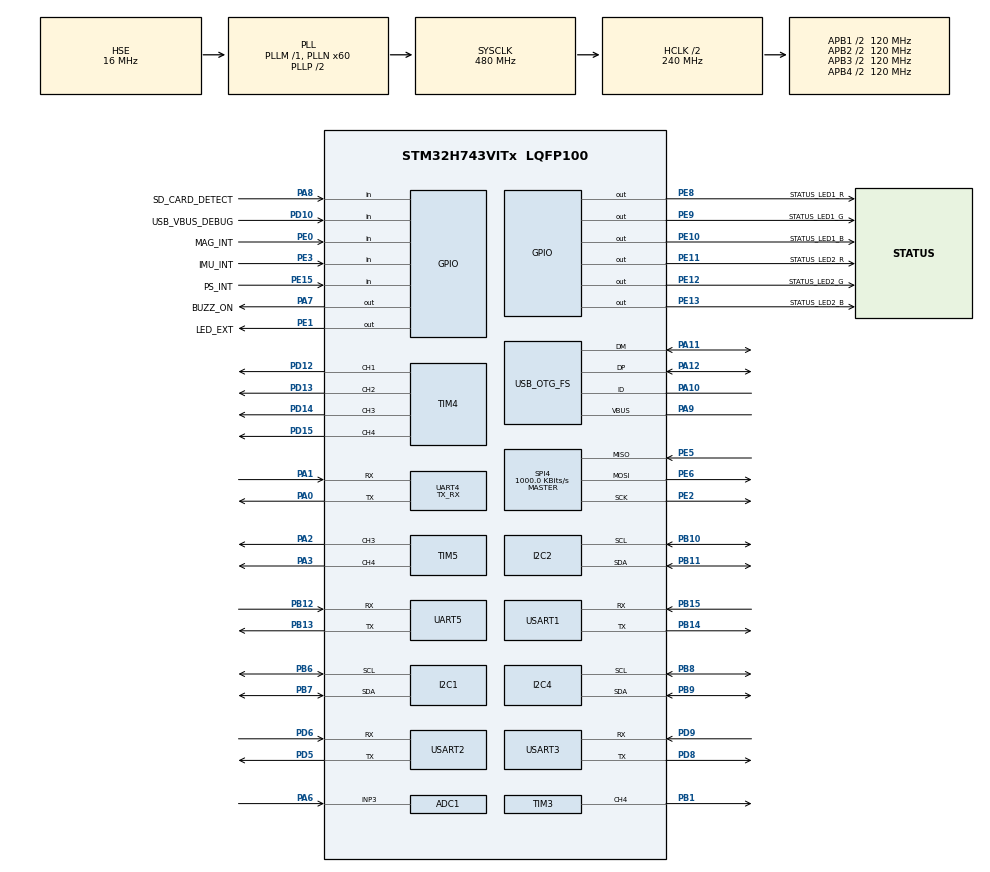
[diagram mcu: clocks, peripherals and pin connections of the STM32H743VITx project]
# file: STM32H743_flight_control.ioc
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ADC1.Channel-1\#ChannelRegularConversion=ADC_CHANNEL_3
ADC1.NbrOfConversionFlag=1
ADC1.OffsetNumber-1\#ChannelRegularConversion=ADC_OFFSET_NONE
ADC1.OffsetSignedSaturation-1\#ChannelRegularConversion=DISABLE
ADC1.Rank-1\#ChannelRegularConversion=1
ADC1.SamplingTime-1\#ChannelRegularConversion=ADC_SAMPLETIME_1CYCLE_5
ADC1.master=1
Dma.Request0=SPI4_RX
Dma.SPI4_RX.0.Direction=DMA_PERIPH_TO_MEMORY
Dma.SPI4_RX.0.EventEnable=DISABLE
Dma.SPI4_RX.0.FIFOMode=DMA_FIFOMODE_ENABLE
Dma.SPI4_RX.0.FIFOThreshold=DMA_FIFO_THRESHOLD_FULL
Dma.SPI4_RX.0.Instance=DMA1_Stream0
Dma.SPI4_RX.0.MemBurst=DMA_MBURST_SINGLE
Dma.SPI4_RX.0.MemDataAlignment=DMA_MDATAALIGN_BYTE
Dma.SPI4_RX.0.MemInc=DMA_MINC_ENABLE
Dma.SPI4_RX.0.Mode=DMA_NORMAL
Dma.SPI4_RX.0.PeriphBurst=DMA_PBURST_SINGLE
Dma.SPI4_RX.0.PeriphDataAlignment=DMA_PDATAALIGN_BYTE
Dma.SPI4_RX.0.PeriphInc=DMA_PINC_DISABLE
Dma.SPI4_RX.0.Polarity=HAL_DMAMUX_REQ_GEN_RISING
Dma.SPI4_RX.0.Priority=DMA_PRIORITY_LOW
Dma.SPI4_RX.0.RequestNumber=1
Dma.SPI4_RX.0.SignalID=NONE
Dma.SPI4_RX.0.SyncEnable=DISABLE
Dma.SPI4_RX.0.SyncPolarity=HAL_DMAMUX_SYNC_NO_EVENT
Dma.SPI4_RX.0.SyncRequestNumber=1
Dma.SPI4_RX.0.SyncSignalID=NONE
FREERTOS.Tasks01=BlinkLED1,-2,128,StartBlinkLED1,Default,NULL,Dynamic,NULL,NULL
FREERTOS.configENABLE_FPU=0
FREERTOS.configUSE_NEWLIB_REENTRANT=1
FREERTOS.configUSE_TIMERS=1
I2C1.Timing=0x10707DBC
I2C2.Timing=0x10707DBC
I2C4.Timing=0x307075B1
Mcu.Family=STM32H7
Mcu.Name=STM32H743VITx
Mcu.Package=LQFP100
NVIC.DMA1_Stream0_IRQn=true\:5\:0\:false\:false\:true\:true\:false\:true\:true
NVIC.PriorityGroup=NVIC_PRIORITYGROUP_4
NVIC.SPI4_IRQn=true\:5\:0\:false\:false\:true\:true\:false\:true\:true
NVIC.TIM7_IRQn=true\:15\:0\:false\:false\:true\:false\:false\:true\:true
NVIC.TimeBase=TIM7_IRQn
NVIC.TimeBaseIP=TIM7
PA0.Mode=Asynchronous
PA0.Signal=UART4_TX
PA1.Mode=Asynchronous
PA1.Signal=UART4_RX
PA10.Mode=OTG/Dual_Role_Device
PA10.Signal=USB_OTG_FS_ID
PA11.Mode=OTG/Dual_Role_Device
PA11.Signal=USB_OTG_FS_DM
PA12.Mode=OTG/Dual_Role_Device
PA12.Signal=USB_OTG_FS_DP
PA13\ (JTMS/SWDIO).Mode=JTAG_4_pins
PA13\ (JTMS/SWDIO).Signal=DEBUG_JTMS-SWDIO
PA14\ (JTCK/SWCLK).Mode=JTAG_4_pins
PA14\ (JTCK/SWCLK).Signal=DEBUG_JTCK-SWCLK
PA15\ (JTDI).Mode=JTAG_4_pins
PA15\ (JTDI).Signal=DEBUG_JTDI
PA2.Signal=S_TIM5_CH3
PA3.Signal=S_TIM5_CH4
PA6.Signal=ADCx_INP3
PA7.GPIO_Label=BUZZ_ON
PA7.Signal=GPIO_Output
PA8.GPIO_Label=SD_CARD_DETECT
PA8.Signal=GPIO_Input
PA9.Mode=Activate_VBUS
PA9.Signal=USB_OTG_FS_VBUS
PB1.Signal=S_TIM3_CH4
PB10.Mode=I2C
PB10.Signal=I2C2_SCL
PB11.Mode=I2C
PB11.Signal=I2C2_SDA
PB12.Mode=Asynchronous
PB12.Signal=UART5_RX
PB13.Mode=Asynchronous
PB13.Signal=UART5_TX
PB14.Mode=Asynchronous
PB14.Signal=USART1_TX
PB15.Mode=Asynchronous
PB15.Signal=USART1_RX
PB3\ (JTDO/TRACESWO).Mode=JTAG_4_pins
PB3\ (JTDO/TRACESWO).Signal=DEBUG_JTDO-SWO
PB6.Mode=I2C
PB6.Signal=I2C1_SCL
PB7.Mode=I2C
PB7.Signal=I2C1_SDA
PB8.Mode=I2C
PB8.Signal=I2C4_SCL
PB9.Mode=I2C
PB9.Signal=I2C4_SDA
PD10.GPIO_Label=USB_VBUS_DEBUG
PD10.Signal=GPIO_Input
PD12.Signal=S_TIM4_CH1
PD13.Signal=S_TIM4_CH2
PD14.Signal=S_TIM4_CH3
PD15.Signal=S_TIM4_CH4
PD5.Mode=Asynchronous
PD5.Signal=USART2_TX
PD6.Mode=Asynchronous
PD6.Signal=USART2_RX
PD8.Mode=Asynchronous
PD8.Signal=USART3_TX
PD9.Mode=Asynchronous
PD9.Signal=USART3_RX
PE0.GPIO_Label=MAG_INT
PE0.Signal=GPIO_Input
PE1.GPIO_Label=LED_EXT
PE1.Signal=GPIO_Output
PE10.GPIO_Label=STATUS_LED1_B
PE10.Signal=GPIO_Output
PE11.GPIO_Label=STATUS_LED2_R
PE11.Signal=GPIO_Output
PE12.GPIO_Label=STATUS_LED2_G
PE12.Signal=GPIO_Output
PE13.GPIO_Label=STATUS_LED2_B
PE13.Signal=GPIO_Output
PE15.GPIO_Label=PS_INT
PE15.Signal=GPIO_Input
PE2.GPIO_PuPd=GPIO_PULLUP
PE2.Mode=Full_Duplex_Master
PE2.Signal=SPI4_SCK
PE3.GPIO_Label=IMU_INT
PE3.Signal=GPIO_Input
PE5.Mode=Full_Duplex_Master
PE5.Signal=SPI4_MISO
PE6.Mode=Full_Duplex_Master
PE6.Signal=SPI4_MOSI
PE8.GPIO_Label=STATUS_LED1_R
PE8.Signal=GPIO_Output
PE9.GPIO_Label=STATUS_LED1_G
PE9.Signal=GPIO_Output
PH0-OSC_IN\ (PH0).Mode=HSE-External-Oscillator
PH0-OSC_IN\ (PH0).Signal=RCC_OSC_IN
PH1-OSC_OUT\ (PH1).Mode=HSE-External-Oscillator
PH1-OSC_OUT\ (PH1).Signal=RCC_OSC_OUT
ProjectManager.HeapSize=0x200
ProjectManager.StackSize=0x400
ProjectManager.TargetToolchain=STM32CubeIDE
RCC.ADCCLockSelection=RCC_ADCCLKSOURCE_PLL3
RCC.ADCFreq_Value=64000000
RCC.APB1Freq_Value=120000000
RCC.APB2Freq_Value=120000000
RCC.APB3Freq_Value=120000000
RCC.APB4Freq_Value=120000000
RCC.CortexFreq_Value=480000000
RCC.D1PPRE=RCC_APB3_DIV2
RCC.D2PPRE1=RCC_APB1_DIV2
RCC.D2PPRE2=RCC_APB2_DIV2
RCC.D3PPRE=RCC_APB4_DIV2
RCC.DIVM1=1
RCC.DIVM2=1
RCC.DIVM3=1
RCC.DIVN1=60
RCC.DIVN2=10
RCC.DIVN3=16
RCC.DIVQ2=80
RCC.DIVQ3=4
RCC.DIVR2=4
RCC.DIVR3=4
RCC.FLatency-AdvancedSettings=FLASH_LATENCY_0
RCC.HCLKFreq_Value=240000000
RCC.HPRE=RCC_HCLK_DIV2
RCC.HSE_VALUE=16000000
RCC.I2C123CLockSelection=RCC_I2C123CLKSOURCE_PLL3
RCC.PLL2_VCI_Range-AdvancedSettings=RCC_PLL2VCIRANGE_0
RCC.PLL3FRACN=0
RCC.PLL3_VCI_Range-AdvancedSettings=RCC_PLL3VCIRANGE_0
RCC.PLLFRACN=0
RCC.PLLSourceVirtual=RCC_PLLSOURCE_HSE
RCC.SDMMC1CLockSelection=RCC_SDMMCCLKSOURCE_PLL2
RCC.SPI123CLockSelection=RCC_SPI123CLKSOURCE_PLL3
RCC.SYSCLKFreq_VALUE=480000000
RCC.SYSCLKSource=RCC_SYSCLKSOURCE_PLLCLK
RCC.Spi45ClockSelection=RCC_SPI45CLKSOURCE_PLL3
RCC.USART16CLockSelection=RCC_USART16CLKSOURCE_PLL3
RCC.USART234578CLockSelection=RCC_USART234578CLKSOURCE_PLL3
RCC.USBCLockSelection=RCC_USBCLKSOURCE_PLL3
RCC.USBFreq_Value=64000000
SH.ADCx_INP3.0=ADC1_INP3,IN3-Single-Ended
SH.S_TIM3_CH4.0=TIM3_CH4,PWM Generation4 CH4
SH.S_TIM4_CH1.0=TIM4_CH1,PWM Generation1 CH1
SH.S_TIM4_CH2.0=TIM4_CH2,PWM Generation2 CH2
SH.S_TIM4_CH3.0=TIM4_CH3,PWM Generation3 CH3
SH.S_TIM4_CH4.0=TIM4_CH4,PWM Generation4 CH4
SH.S_TIM5_CH3.0=TIM5_CH3,PWM Generation3 CH3
SH.S_TIM5_CH4.0=TIM5_CH4,PWM Generation4 CH4
SPI4.BaudRatePrescaler=SPI_BAUDRATEPRESCALER_64
SPI4.CLKPhase=SPI_PHASE_2EDGE
SPI4.CLKPolarity=SPI_POLARITY_HIGH
SPI4.CalculateBaudRate=1000.0 KBits/s
SPI4.DataSize=SPI_DATASIZE_8BIT
SPI4.Direction=SPI_DIRECTION_2LINES
SPI4.Mode=SPI_MODE_MASTER
SPI4.NSSPMode=SPI_NSS_PULSE_DISABLE
SPI4.VirtualType=VM_MASTER
TIM3.Channel-PWM\ Generation4\ CH4=TIM_CHANNEL_4
TIM4.Channel-PWM\ Generation1\ CH1=TIM_CHANNEL_1
TIM4.Channel-PWM\ Generation2\ CH2=TIM_CHANNEL_2
TIM4.Channel-PWM\ Generation3\ CH3=TIM_CHANNEL_3
TIM4.Channel-PWM\ Generation4\ CH4=TIM_CHANNEL_4
TIM5.Channel-PWM\ Generation3\ CH3=TIM_CHANNEL_3
TIM5.Channel-PWM\ Generation4\ CH4=TIM_CHANNEL_4
UART4.Mode=MODE_TX_RX
USART1.VirtualMode-Asynchronous=VM_ASYNC
USART2.VirtualMode-Asynchronous=VM_ASYNC
USART3.VirtualMode-Asynchronous=VM_ASYNC
VP_FREERTOS_VS_CMSIS_V1.Mode=CMSIS_V1
VP_SYS_VS_tim7.Mode=TIM7
board=custom

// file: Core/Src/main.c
/* USER CODE BEGIN Header */
/**
  ******************************************************************************
  * @file           : main.c
  * @brief          : Main program body
  ******************************************************************************
  * @attention
  *
  * <h2><center>&copy; Copyright (c) 2022 STMicroelectronics.
  * All rights reserved.</center></h2>
  *
  * This software component is licensed by ST under BSD 3-Clause license,
  * the "License"; You may not use this file except in compliance with the
  * License. You may obtain a copy of the License at:
  *                        opensource.org/licenses/BSD-3-Clause
  *
  ******************************************************************************
  */
/* USER CODE END Header */
#include "main.h"
#include "cmsis_os.h"

/* USER CODE BEGIN Includes */

#include "MPU6000.h"

/* USER CODE END Includes */

ADC_HandleTypeDef hadc1;

I2C_HandleTypeDef hi2c1;
I2C_HandleTypeDef hi2c2;
I2C_HandleTypeDef hi2c4;

SPI_HandleTypeDef hspi4;
DMA_HandleTypeDef hdma_spi4_rx;

TIM_HandleTypeDef htim3;
TIM_HandleTypeDef htim4;
TIM_HandleTypeDef htim5;

UART_HandleTypeDef huart4;
UART_HandleTypeDef huart5;
UART_HandleTypeDef huart1;
UART_HandleTypeDef huart2;
UART_HandleTypeDef huart3;

osThreadId BlinkLED1Handle;

void SystemClock_Config(void);
void PeriphCommonClock_Config(void);
static void MX_GPIO_Init(void);
static void MX_I2C1_Init(void);
static void MX_I2C2_Init(void);
static void MX_TIM4_Init(void);
static void MX_TIM5_Init(void);
static void MX_USART1_UART_Init(void);
static void MX_USB_OTG_FS_USB_Init(void);
static void MX_UART4_Init(void);
static void MX_USART2_UART_Init(void);
static void MX_USART3_UART_Init(void);
static void MX_UART5_Init(void);
static void MX_I2C4_Init(void);
static void MX_ADC1_Init(void);
static void MX_TIM3_Init(void);
static void MX_DMA_Init(void);
static void MX_SPI4_Init(void);
void StartBlinkLED1(void const * argument);

int main(void)
{

  /* MCU Configuration--------------------------------------------------------*/

  /* Reset of all peripherals, Initializes the Flash interface and the Systick. */
  HAL_Init();

  /* Configure the system clock */
  SystemClock_Config();

/* Configure the peripherals common clocks */
  PeriphCommonClock_Config();

  /* Initialize all configured peripherals */
  MX_GPIO_Init();
  MX_I2C1_Init();
  MX_I2C2_Init();
  MX_TIM4_Init();
  MX_TIM5_Init();
  MX_USART1_UART_Init();
  MX_USB_OTG_FS_USB_Init();
  MX_UART4_Init();
  MX_USART2_UART_Init();
  MX_USART3_UART_Init();
  MX_UART5_Init();
  MX_I2C4_Init();
  MX_ADC1_Init();
  MX_TIM3_Init();
  MX_DMA_Init();
  MX_SPI4_Init();
  /* USER CODE BEGIN 2 */

  //MPU6000_init(&hspi4);

  /* USER CODE END 2 */

  /* Create the thread(s) */
  /* definition and creation of BlinkLED1 */
  osThreadDef(BlinkLED1, StartBlinkLED1, osPriorityLow, 0, 128);
  BlinkLED1Handle = osThreadCreate(osThread(BlinkLED1), NULL);

  /* Start scheduler */
  osKernelStart();

  /* We should never get here as control is now taken by the scheduler */
  /* Infinite loop */
  while (1)
  {

  }
}

void SystemClock_Config(void)
{
  RCC_OscInitTypeDef RCC_OscInitStruct = {0};
  RCC_ClkInitTypeDef RCC_ClkInitStruct = {0};

  /** Supply configuration update enable
  */
  HAL_PWREx_ConfigSupply(PWR_LDO_SUPPLY);

  /** Configure the main internal regulator output voltage
  */
  __HAL_PWR_VOLTAGESCALING_CONFIG(PWR_REGULATOR_VOLTAGE_SCALE1);

  while(!__HAL_PWR_GET_FLAG(PWR_FLAG_VOSRDY)) {}

  __HAL_RCC_SYSCFG_CLK_ENABLE();
  __HAL_PWR_VOLTAGESCALING_CONFIG(PWR_REGULATOR_VOLTAGE_SCALE0);

  while(!__HAL_PWR_GET_FLAG(PWR_FLAG_VOSRDY)) {}

  /** Macro to configure the PLL clock source
  */
  __HAL_RCC_PLL_PLLSOURCE_CONFIG(RCC_PLLSOURCE_HSE);

  /** Initializes the RCC Oscillators according to the specified parameters
  * in the RCC_OscInitTypeDef structure.
  */
  RCC_OscInitStruct.OscillatorType = RCC_OSCILLATORTYPE_HSE;
  RCC_OscInitStruct.HSEState = RCC_HSE_ON;
  RCC_OscInitStruct.PLL.PLLState = RCC_PLL_ON;
  RCC_OscInitStruct.PLL.PLLSource = RCC_PLLSOURCE_HSE;
  RCC_OscInitStruct.PLL.PLLM = 1;
  RCC_OscInitStruct.PLL.PLLN = 60;
  RCC_OscInitStruct.PLL.PLLP = 2;
  RCC_OscInitStruct.PLL.PLLQ = 2;
  RCC_OscInitStruct.PLL.PLLR = 2;
  RCC_OscInitStruct.PLL.PLLRGE = RCC_PLL1VCIRANGE_3;
  RCC_OscInitStruct.PLL.PLLVCOSEL = RCC_PLL1VCOWIDE;
  RCC_OscInitStruct.PLL.PLLFRACN = 0;
  if (HAL_RCC_OscConfig(&RCC_OscInitStruct) != HAL_OK)
  {
    Error_Handler();
  }

  /** Initializes the CPU, AHB and APB buses clocks
  */
  RCC_ClkInitStruct.ClockType = RCC_CLOCKTYPE_HCLK|RCC_CLOCKTYPE_SYSCLK
                              |RCC_CLOCKTYPE_PCLK1|RCC_CLOCKTYPE_PCLK2
                              |RCC_CLOCKTYPE_D3PCLK1|RCC_CLOCKTYPE_D1PCLK1;
  RCC_ClkInitStruct.SYSCLKSource = RCC_SYSCLKSOURCE_PLLCLK;
  RCC_ClkInitStruct.SYSCLKDivider = RCC_SYSCLK_DIV1;
  RCC_ClkInitStruct.AHBCLKDivider = RCC_HCLK_DIV2;
  RCC_ClkInitStruct.APB3CLKDivider = RCC_APB3_DIV2;
  RCC_ClkInitStruct.APB1CLKDivider = RCC_APB1_DIV2;
  RCC_ClkInitStruct.APB2CLKDivider = RCC_APB2_DIV2;
  RCC_ClkInitStruct.APB4CLKDivider = RCC_APB4_DIV2;

  if (HAL_RCC_ClockConfig(&RCC_ClkInitStruct, FLASH_LATENCY_4) != HAL_OK)
  {
    Error_Handler();
  }
}

void PeriphCommonClock_Config(void)
{
  RCC_PeriphCLKInitTypeDef PeriphClkInitStruct = {0};

  /** Initializes the peripherals clock
  */
  PeriphClkInitStruct.PeriphClockSelection = RCC_PERIPHCLK_USB|RCC_PERIPHCLK_ADC
                              |RCC_PERIPHCLK_I2C2|RCC_PERIPHCLK_I2C1
                              |RCC_PERIPHCLK_SPI4|RCC_PERIPHCLK_UART5
                              |RCC_PERIPHCLK_USART1|RCC_PERIPHCLK_UART4
                              |RCC_PERIPHCLK_USART2|RCC_PERIPHCLK_USART3;
  PeriphClkInitStruct.PLL3.PLL3M = 1;
  PeriphClkInitStruct.PLL3.PLL3N = 16;
  PeriphClkInitStruct.PLL3.PLL3P = 2;
  PeriphClkInitStruct.PLL3.PLL3Q = 4;
  PeriphClkInitStruct.PLL3.PLL3R = 4;
  PeriphClkInitStruct.PLL3.PLL3RGE = RCC_PLL3VCIRANGE_3;
  PeriphClkInitStruct.PLL3.PLL3VCOSEL = RCC_PLL3VCOWIDE;
  PeriphClkInitStruct.PLL3.PLL3FRACN = 0;
  PeriphClkInitStruct.Spi45ClockSelection = RCC_SPI45CLKSOURCE_PLL3;
  PeriphClkInitStruct.Usart234578ClockSelection = RCC_USART234578CLKSOURCE_PLL3;
  PeriphClkInitStruct.Usart16ClockSelection = RCC_USART16CLKSOURCE_PLL3;
  PeriphClkInitStruct.I2c123ClockSelection = RCC_I2C123CLKSOURCE_PLL3;
  PeriphClkInitStruct.UsbClockSelection = RCC_USBCLKSOURCE_PLL3;
  PeriphClkInitStruct.AdcClockSelection = RCC_ADCCLKSOURCE_PLL3;
  if (HAL_RCCEx_PeriphCLKConfig(&PeriphClkInitStruct) != HAL_OK)
  {
    Error_Handler();
  }
}

static void MX_ADC1_Init(void)
{

  ADC_MultiModeTypeDef multimode = {0};
  ADC_ChannelConfTypeDef sConfig = {0};

  /** Common config
  */
  hadc1.Instance = ADC1;
  hadc1.Init.ClockPrescaler = ADC_CLOCK_ASYNC_DIV1;
  hadc1.Init.Resolution = ADC_RESOLUTION_16B;
  hadc1.Init.ScanConvMode = ADC_SCAN_DISABLE;
  hadc1.Init.EOCSelection = ADC_EOC_SINGLE_CONV;
  hadc1.Init.LowPowerAutoWait = DISABLE;
  hadc1.Init.ContinuousConvMode = DISABLE;
  hadc1.Init.NbrOfConversion = 1;
  hadc1.Init.DiscontinuousConvMode = DISABLE;
  hadc1.Init.ExternalTrigConv = ADC_SOFTWARE_START;
  hadc1.Init.ExternalTrigConvEdge = ADC_EXTERNALTRIGCONVEDGE_NONE;
  hadc1.Init.ConversionDataManagement = ADC_CONVERSIONDATA_DR;
  hadc1.Init.Overrun = ADC_OVR_DATA_PRESERVED;
  hadc1.Init.LeftBitShift = ADC_LEFTBITSHIFT_NONE;
  hadc1.Init.OversamplingMode = DISABLE;
  if (HAL_ADC_Init(&hadc1) != HAL_OK)
  {
    Error_Handler();
  }

  /** Configure the ADC multi-mode
  */
  multimode.Mode = ADC_MODE_INDEPENDENT;
  if (HAL_ADCEx_MultiModeConfigChannel(&hadc1, &multimode) != HAL_OK)
  {
    Error_Handler();
  }

  /** Configure Regular Channel
  */
  sConfig.Channel = ADC_CHANNEL_3;
  sConfig.Rank = ADC_REGULAR_RANK_1;
  sConfig.SamplingTime = ADC_SAMPLETIME_1CYCLE_5;
  sConfig.SingleDiff = ADC_SINGLE_ENDED;
  sConfig.OffsetNumber = ADC_OFFSET_NONE;
  sConfig.Offset = 0;
  sConfig.OffsetSignedSaturation = DISABLE;
  if (HAL_ADC_ConfigChannel(&hadc1, &sConfig) != HAL_OK)
  {
    Error_Handler();
  }

}

static void MX_I2C1_Init(void)
{

  hi2c1.Instance = I2C1;
  hi2c1.Init.Timing = 0x10707DBC;
  hi2c1.Init.OwnAddress1 = 0;
  hi2c1.Init.AddressingMode = I2C_ADDRESSINGMODE_7BIT;
  hi2c1.Init.DualAddressMode = I2C_DUALADDRESS_DISABLE;
  hi2c1.Init.OwnAddress2 = 0;
  hi2c1.Init.OwnAddress2Masks = I2C_OA2_NOMASK;
  hi2c1.Init.GeneralCallMode = I2C_GENERALCALL_DISABLE;
  hi2c1.Init.NoStretchMode = I2C_NOSTRETCH_DISABLE;
  if (HAL_I2C_Init(&hi2c1) != HAL_OK)
  {
    Error_Handler();
  }

  /** Configure Analogue filter
  */
  if (HAL_I2CEx_ConfigAnalogFilter(&hi2c1, I2C_ANALOGFILTER_ENABLE) != HAL_OK)
  {
    Error_Handler();
  }

  /** Configure Digital filter
  */
  if (HAL_I2CEx_ConfigDigitalFilter(&hi2c1, 0) != HAL_OK)
  {
    Error_Handler();
  }

}

static void MX_I2C2_Init(void)
{

  hi2c2.Instance = I2C2;
  hi2c2.Init.Timing = 0x10707DBC;
  hi2c2.Init.OwnAddress1 = 0;
  hi2c2.Init.AddressingMode = I2C_ADDRESSINGMODE_7BIT;
  hi2c2.Init.DualAddressMode = I2C_DUALADDRESS_DISABLE;
  hi2c2.Init.OwnAddress2 = 0;
  hi2c2.Init.OwnAddress2Masks = I2C_OA2_NOMASK;
  hi2c2.Init.GeneralCallMode = I2C_GENERALCALL_DISABLE;
  hi2c2.Init.NoStretchMode = I2C_NOSTRETCH_DISABLE;
  if (HAL_I2C_Init(&hi2c2) != HAL_OK)
  {
    Error_Handler();
  }

  /** Configure Analogue filter
  */
  if (HAL_I2CEx_ConfigAnalogFilter(&hi2c2, I2C_ANALOGFILTER_ENABLE) != HAL_OK)
  {
    Error_Handler();
  }

  /** Configure Digital filter
  */
  if (HAL_I2CEx_ConfigDigitalFilter(&hi2c2, 0) != HAL_OK)
  {
    Error_Handler();
  }

}

static void MX_I2C4_Init(void)
{

  hi2c4.Instance = I2C4;
  hi2c4.Init.Timing = 0x307075B1;
  hi2c4.Init.OwnAddress1 = 0;
  hi2c4.Init.AddressingMode = I2C_ADDRESSINGMODE_7BIT;
  hi2c4.Init.DualAddressMode = I2C_DUALADDRESS_DISABLE;
  hi2c4.Init.OwnAddress2 = 0;
  hi2c4.Init.OwnAddress2Masks = I2C_OA2_NOMASK;
  hi2c4.Init.GeneralCallMode = I2C_GENERALCALL_DISABLE;
  hi2c4.Init.NoStretchMode = I2C_NOSTRETCH_DISABLE;
  if (HAL_I2C_Init(&hi2c4) != HAL_OK)
  {
    Error_Handler();
  }

  /** Configure Analogue filter
  */
  if (HAL_I2CEx_ConfigAnalogFilter(&hi2c4, I2C_ANALOGFILTER_ENABLE) != HAL_OK)
  {
    Error_Handler();
  }

  /** Configure Digital filter
  */
  if (HAL_I2CEx_ConfigDigitalFilter(&hi2c4, 0) != HAL_OK)
  {
    Error_Handler();
  }

}

static void MX_SPI4_Init(void)
{

  /* SPI4 parameter configuration*/
  hspi4.Instance = SPI4;
  hspi4.Init.Mode = SPI_MODE_MASTER;
  hspi4.Init.Direction = SPI_DIRECTION_2LINES;
  hspi4.Init.DataSize = SPI_DATASIZE_8BIT;
  hspi4.Init.CLKPolarity = SPI_POLARITY_HIGH;
  hspi4.Init.CLKPhase = SPI_PHASE_2EDGE;
  hspi4.Init.NSS = SPI_NSS_SOFT;
  hspi4.Init.BaudRatePrescaler = SPI_BAUDRATEPRESCALER_64;
  hspi4.Init.FirstBit = SPI_FIRSTBIT_MSB;
  hspi4.Init.TIMode = SPI_TIMODE_DISABLE;
  hspi4.Init.CRCCalculation = SPI_CRCCALCULATION_DISABLE;
  hspi4.Init.CRCPolynomial = 0x0;
  hspi4.Init.NSSPMode = SPI_NSS_PULSE_DISABLE;
  hspi4.Init.NSSPolarity = SPI_NSS_POLARITY_LOW;
  hspi4.Init.FifoThreshold = SPI_FIFO_THRESHOLD_01DATA;
  hspi4.Init.TxCRCInitializationPattern = SPI_CRC_INITIALIZATION_ALL_ZERO_PATTERN;
  hspi4.Init.RxCRCInitializationPattern = SPI_CRC_INITIALIZATION_ALL_ZERO_PATTERN;
  hspi4.Init.MasterSSIdleness = SPI_MASTER_SS_IDLENESS_00CYCLE;
  hspi4.Init.MasterInterDataIdleness = SPI_MASTER_INTERDATA_IDLENESS_00CYCLE;
  hspi4.Init.MasterReceiverAutoSusp = SPI_MASTER_RX_AUTOSUSP_DISABLE;
  hspi4.Init.MasterKeepIOState = SPI_MASTER_KEEP_IO_STATE_DISABLE;
  hspi4.Init.IOSwap = SPI_IO_SWAP_DISABLE;
  if (HAL_SPI_Init(&hspi4) != HAL_OK)
  {
    Error_Handler();
  }

}

static void MX_TIM3_Init(void)
{

  TIM_MasterConfigTypeDef sMasterConfig = {0};
  TIM_OC_InitTypeDef sConfigOC = {0};

  htim3.Instance = TIM3;
  htim3.Init.Prescaler = 0;
  htim3.Init.CounterMode = TIM_COUNTERMODE_UP;
  htim3.Init.Period = 65535;
  htim3.Init.ClockDivision = TIM_CLOCKDIVISION_DIV1;
  htim3.Init.AutoReloadPreload = TIM_AUTORELOAD_PRELOAD_DISABLE;
  if (HAL_TIM_PWM_Init(&htim3) != HAL_OK)
  {
    Error_Handler();
  }
  sMasterConfig.MasterOutputTrigger = TIM_TRGO_RESET;
  sMasterConfig.MasterSlaveMode = TIM_MASTERSLAVEMODE_DISABLE;
  if (HAL_TIMEx_MasterConfigSynchronization(&htim3, &sMasterConfig) != HAL_OK)
  {
    Error_Handler();
  }
  sConfigOC.OCMode = TIM_OCMODE_PWM1;
  sConfigOC.Pulse = 0;
  sConfigOC.OCPolarity = TIM_OCPOLARITY_HIGH;
  sConfigOC.OCFastMode = TIM_OCFAST_DISABLE;
  if (HAL_TIM_PWM_ConfigChannel(&htim3, &sConfigOC, TIM_CHANNEL_4) != HAL_OK)
  {
    Error_Handler();
  }
  HAL_TIM_MspPostInit(&htim3);

}

static void MX_TIM4_Init(void)
{

  TIM_MasterConfigTypeDef sMasterConfig = {0};
  TIM_OC_InitTypeDef sConfigOC = {0};

  htim4.Instance = TIM4;
  htim4.Init.Prescaler = 0;
  htim4.Init.CounterMode = TIM_COUNTERMODE_UP;
  htim4.Init.Period = 65535;
  htim4.Init.ClockDivision = TIM_CLOCKDIVISION_DIV1;
  htim4.Init.AutoReloadPreload = TIM_AUTORELOAD_PRELOAD_DISABLE;
  if (HAL_TIM_PWM_Init(&htim4) != HAL_OK)
  {
    Error_Handler();
  }
  sMasterConfig.MasterOutputTrigger = TIM_TRGO_RESET;
  sMasterConfig.MasterSlaveMode = TIM_MASTERSLAVEMODE_DISABLE;
  if (HAL_TIMEx_MasterConfigSynchronization(&htim4, &sMasterConfig) != HAL_OK)
  {
    Error_Handler();
  }
  sConfigOC.OCMode = TIM_OCMODE_PWM1;
  sConfigOC.Pulse = 0;
  sConfigOC.OCPolarity = TIM_OCPOLARITY_HIGH;
  sConfigOC.OCFastMode = TIM_OCFAST_DISABLE;
  if (HAL_TIM_PWM_ConfigChannel(&htim4, &sConfigOC, TIM_CHANNEL_1) != HAL_OK)
  {
    Error_Handler();
  }
  if (HAL_TIM_PWM_ConfigChannel(&htim4, &sConfigOC, TIM_CHANNEL_2) != HAL_OK)
  {
    Error_Handler();
  }
  if (HAL_TIM_PWM_ConfigChannel(&htim4, &sConfigOC, TIM_CHANNEL_3) != HAL_OK)
  {
    Error_Handler();
  }
  if (HAL_TIM_PWM_ConfigChannel(&htim4, &sConfigOC, TIM_CHANNEL_4) != HAL_OK)
  {
    Error_Handler();
  }
  HAL_TIM_MspPostInit(&htim4);

}

static void MX_TIM5_Init(void)
{

  TIM_MasterConfigTypeDef sMasterConfig = {0};
  TIM_OC_InitTypeDef sConfigOC = {0};

  htim5.Instance = TIM5;
  htim5.Init.Prescaler = 0;
  htim5.Init.CounterMode = TIM_COUNTERMODE_UP;
  htim5.Init.Period = 4294967295;
  htim5.Init.ClockDivision = TIM_CLOCKDIVISION_DIV1;
  htim5.Init.AutoReloadPreload = TIM_AUTORELOAD_PRELOAD_DISABLE;
  if (HAL_TIM_PWM_Init(&htim5) != HAL_OK)
  {
    Error_Handler();
  }
  sMasterConfig.MasterOutputTrigger = TIM_TRGO_RESET;
  sMasterConfig.MasterSlaveMode = TIM_MASTERSLAVEMODE_DISABLE;
  if (HAL_TIMEx_MasterConfigSynchronization(&htim5, &sMasterConfig) != HAL_OK)
  {
    Error_Handler();
  }
  sConfigOC.OCMode = TIM_OCMODE_PWM1;
  sConfigOC.Pulse = 0;
  sConfigOC.OCPolarity = TIM_OCPOLARITY_HIGH;
  sConfigOC.OCFastMode = TIM_OCFAST_DISABLE;
  if (HAL_TIM_PWM_ConfigChannel(&htim5, &sConfigOC, TIM_CHANNEL_3) != HAL_OK)
  {
    Error_Handler();
  }
  if (HAL_TIM_PWM_ConfigChannel(&htim5, &sConfigOC, TIM_CHANNEL_4) != HAL_OK)
  {
    Error_Handler();
  }
  HAL_TIM_MspPostInit(&htim5);

}

static void MX_UART4_Init(void)
{

  huart4.Instance = UART4;
  huart4.Init.BaudRate = 115200;
  huart4.Init.WordLength = UART_WORDLENGTH_8B;
  huart4.Init.StopBits = UART_STOPBITS_1;
  huart4.Init.Parity = UART_PARITY_NONE;
  huart4.Init.Mode = UART_MODE_TX_RX;
  huart4.Init.HwFlowCtl = UART_HWCONTROL_NONE;
  huart4.Init.OverSampling = UART_OVERSAMPLING_16;
  huart4.Init.OneBitSampling = UART_ONE_BIT_SAMPLE_DISABLE;
  huart4.Init.ClockPrescaler = UART_PRESCALER_DIV1;
  huart4.AdvancedInit.AdvFeatureInit = UART_ADVFEATURE_NO_INIT;
  if (HAL_UART_Init(&huart4) != HAL_OK)
  {
    Error_Handler();
  }
  if (HAL_UARTEx_SetTxFifoThreshold(&huart4, UART_TXFIFO_THRESHOLD_1_8) != HAL_OK)
  {
    Error_Handler();
  }
  if (HAL_UARTEx_SetRxFifoThreshold(&huart4, UART_RXFIFO_THRESHOLD_1_8) != HAL_OK)
  {
    Error_Handler();
  }
  if (HAL_UARTEx_DisableFifoMode(&huart4) != HAL_OK)
  {
    Error_Handler();
  }

}

static void MX_UART5_Init(void)
{

  huart5.Instance = UART5;
  huart5.Init.BaudRate = 115200;
  huart5.Init.WordLength = UART_WORDLENGTH_8B;
  huart5.Init.StopBits = UART_STOPBITS_1;
  huart5.Init.Parity = UART_PARITY_NONE;
  huart5.Init.Mode = UART_MODE_TX_RX;
  huart5.Init.HwFlowCtl = UART_HWCONTROL_NONE;
  huart5.Init.OverSampling = UART_OVERSAMPLING_16;
  huart5.Init.OneBitSampling = UART_ONE_BIT_SAMPLE_DISABLE;
  huart5.Init.ClockPrescaler = UART_PRESCALER_DIV1;
  huart5.AdvancedInit.AdvFeatureInit = UART_ADVFEATURE_NO_INIT;
  if (HAL_UART_Init(&huart5) != HAL_OK)
  {
    Error_Handler();
  }
  if (HAL_UARTEx_SetTxFifoThreshold(&huart5, UART_TXFIFO_THRESHOLD_1_8) != HAL_OK)
  {
    Error_Handler();
  }
  if (HAL_UARTEx_SetRxFifoThreshold(&huart5, UART_RXFIFO_THRESHOLD_1_8) != HAL_OK)
  {
    Error_Handler();
  }
  if (HAL_UARTEx_DisableFifoMode(&huart5) != HAL_OK)
  {
    Error_Handler();
  }

}

static void MX_USART1_UART_Init(void)
{

  huart1.Instance = USART1;
  huart1.Init.BaudRate = 115200;
  huart1.Init.WordLength = UART_WORDLENGTH_8B;
  huart1.Init.StopBits = UART_STOPBITS_1;
  huart1.Init.Parity = UART_PARITY_NONE;
  huart1.Init.Mode = UART_MODE_TX_RX;
  huart1.Init.HwFlowCtl = UART_HWCONTROL_NONE;
  huart1.Init.OverSampling = UART_OVERSAMPLING_16;
  huart1.Init.OneBitSampling = UART_ONE_BIT_SAMPLE_DISABLE;
  huart1.Init.ClockPrescaler = UART_PRESCALER_DIV1;
  huart1.AdvancedInit.AdvFeatureInit = UART_ADVFEATURE_NO_INIT;
  if (HAL_UART_Init(&huart1) != HAL_OK)
  {
    Error_Handler();
  }
  if (HAL_UARTEx_SetTxFifoThreshold(&huart1, UART_TXFIFO_THRESHOLD_1_8) != HAL_OK)
  {
    Error_Handler();
  }
  if (HAL_UARTEx_SetRxFifoThreshold(&huart1, UART_RXFIFO_THRESHOLD_1_8) != HAL_OK)
  {
    Error_Handler();
  }
  if (HAL_UARTEx_DisableFifoMode(&huart1) != HAL_OK)
  {
    Error_Handler();
  }

}

static void MX_USART2_UART_Init(void)
{

  huart2.Instance = USART2;
  huart2.Init.BaudRate = 115200;
  huart2.Init.WordLength = UART_WORDLENGTH_8B;
  huart2.Init.StopBits = UART_STOPBITS_1;
  huart2.Init.Parity = UART_PARITY_NONE;
  huart2.Init.Mode = UART_MODE_TX_RX;
  huart2.Init.HwFlowCtl = UART_HWCONTROL_NONE;
  huart2.Init.OverSampling = UART_OVERSAMPLING_16;
  huart2.Init.OneBitSampling = UART_ONE_BIT_SAMPLE_DISABLE;
  huart2.Init.ClockPrescaler = UART_PRESCALER_DIV1;
  huart2.AdvancedInit.AdvFeatureInit = UART_ADVFEATURE_NO_INIT;
  if (HAL_UART_Init(&huart2) != HAL_OK)
  {
    Error_Handler();
  }
  if (HAL_UARTEx_SetTxFifoThreshold(&huart2, UART_TXFIFO_THRESHOLD_1_8) != HAL_OK)
  {
    Error_Handler();
  }
  if (HAL_UARTEx_SetRxFifoThreshold(&huart2, UART_RXFIFO_THRESHOLD_1_8) != HAL_OK)
  {
    Error_Handler();
  }
  if (HAL_UARTEx_DisableFifoMode(&huart2) != HAL_OK)
  {
    Error_Handler();
  }

}

static void MX_USART3_UART_Init(void)
{

  huart3.Instance = USART3;
  huart3.Init.BaudRate = 115200;
  huart3.Init.WordLength = UART_WORDLENGTH_8B;
  huart3.Init.StopBits = UART_STOPBITS_1;
  huart3.Init.Parity = UART_PARITY_NONE;
  huart3.Init.Mode = UART_MODE_TX_RX;
  huart3.Init.HwFlowCtl = UART_HWCONTROL_NONE;
  huart3.Init.OverSampling = UART_OVERSAMPLING_16;
  huart3.Init.OneBitSampling = UART_ONE_BIT_SAMPLE_DISABLE;
  huart3.Init.ClockPrescaler = UART_PRESCALER_DIV1;
  huart3.AdvancedInit.AdvFeatureInit = UART_ADVFEATURE_NO_INIT;
  if (HAL_UART_Init(&huart3) != HAL_OK)
  {
    Error_Handler();
  }
  if (HAL_UARTEx_SetTxFifoThreshold(&huart3, UART_TXFIFO_THRESHOLD_1_8) != HAL_OK)
  {
    Error_Handler();
  }
  if (HAL_UARTEx_SetRxFifoThreshold(&huart3, UART_RXFIFO_THRESHOLD_1_8) != HAL_OK)
  {
    Error_Handler();
  }
  if (HAL_UARTEx_DisableFifoMode(&huart3) != HAL_OK)
  {
    Error_Handler();
  }

}

static void MX_USB_OTG_FS_USB_Init(void)
{

}

static void MX_DMA_Init(void)
{

  /* DMA controller clock enable */
  __HAL_RCC_DMA1_CLK_ENABLE();

  /* DMA interrupt init */
  /* DMA1_Stream0_IRQn interrupt configuration */
  HAL_NVIC_SetPriority(DMA1_Stream0_IRQn, 5, 0);
  HAL_NVIC_EnableIRQ(DMA1_Stream0_IRQn);

}

static void MX_GPIO_Init(void)
{
  GPIO_InitTypeDef GPIO_InitStruct = {0};

  /* GPIO Ports Clock Enable */
  __HAL_RCC_GPIOE_CLK_ENABLE();
  __HAL_RCC_GPIOH_CLK_ENABLE();
  __HAL_RCC_GPIOA_CLK_ENABLE();
  __HAL_RCC_GPIOB_CLK_ENABLE();
  __HAL_RCC_GPIOD_CLK_ENABLE();

  /*Configure GPIO pin Output Level */
  HAL_GPIO_WritePin(BUZZ_ON_GPIO_Port, BUZZ_ON_Pin, GPIO_PIN_RESET);

  /*Configure GPIO pin Output Level */
  HAL_GPIO_WritePin(GPIOE, STATUS_LED1_R_Pin|STATUS_LED1_G_Pin|STATUS_LED1_B_Pin|STATUS_LED2_R_Pin
                          |STATUS_LED2_G_Pin|STATUS_LED2_B_Pin|LED_EXT_Pin, GPIO_PIN_RESET);

  /*Configure GPIO pins : IMU_INT_Pin PS_INT_Pin MAG_INT_Pin */
  GPIO_InitStruct.Pin = IMU_INT_Pin|PS_INT_Pin|MAG_INT_Pin;
  GPIO_InitStruct.Mode = GPIO_MODE_INPUT;
  GPIO_InitStruct.Pull = GPIO_NOPULL;
  HAL_GPIO_Init(GPIOE, &GPIO_InitStruct);

  /*Configure GPIO pin : BUZZ_ON_Pin */
  GPIO_InitStruct.Pin = BUZZ_ON_Pin;
  GPIO_InitStruct.Mode = GPIO_MODE_OUTPUT_PP;
  GPIO_InitStruct.Pull = GPIO_NOPULL;
  GPIO_InitStruct.Speed = GPIO_SPEED_FREQ_LOW;
  HAL_GPIO_Init(BUZZ_ON_GPIO_Port, &GPIO_InitStruct);

  /*Configure GPIO pins : STATUS_LED1_R_Pin STATUS_LED1_G_Pin STATUS_LED1_B_Pin STATUS_LED2_R_Pin
                           STATUS_LED2_G_Pin STATUS_LED2_B_Pin LED_EXT_Pin */
  GPIO_InitStruct.Pin = STATUS_LED1_R_Pin|STATUS_LED1_G_Pin|STATUS_LED1_B_Pin|STATUS_LED2_R_Pin
                          |STATUS_LED2_G_Pin|STATUS_LED2_B_Pin|LED_EXT_Pin;
  GPIO_InitStruct.Mode = GPIO_MODE_OUTPUT_PP;
  GPIO_InitStruct.Pull = GPIO_NOPULL;
  GPIO_InitStruct.Speed = GPIO_SPEED_FREQ_LOW;
  HAL_GPIO_Init(GPIOE, &GPIO_InitStruct);

  /*Configure GPIO pin : USB_VBUS_DEBUG_Pin */
  GPIO_InitStruct.Pin = USB_VBUS_DEBUG_Pin;
  GPIO_InitStruct.Mode = GPIO_MODE_INPUT;
  GPIO_InitStruct.Pull = GPIO_NOPULL;
  HAL_GPIO_Init(USB_VBUS_DEBUG_GPIO_Port, &GPIO_InitStruct);

  /*Configure GPIO pins : SD_CARD_DETECT_Pin PA9 */
  GPIO_InitStruct.Pin = SD_CARD_DETECT_Pin|GPIO_PIN_9;
  GPIO_InitStruct.Mode = GPIO_MODE_INPUT;
  GPIO_InitStruct.Pull = GPIO_NOPULL;
  HAL_GPIO_Init(GPIOA, &GPIO_InitStruct);

  /*Configure GPIO pins : PA10 PA11 PA12 */
  GPIO_InitStruct.Pin = GPIO_PIN_10|GPIO_PIN_11|GPIO_PIN_12;
  GPIO_InitStruct.Mode = GPIO_MODE_AF_PP;
  GPIO_InitStruct.Pull = GPIO_NOPULL;
  GPIO_InitStruct.Speed = GPIO_SPEED_FREQ_LOW;
  GPIO_InitStruct.Alternate = GPIO_AF10_OTG1_FS;
  HAL_GPIO_Init(GPIOA, &GPIO_InitStruct);

}

void StartBlinkLED1(void const * argument)
{
  /* USER CODE BEGIN 5 */
  // Setup for both Debug LEDs
  HAL_GPIO_WritePin(STATUS_LED1_R_GPIO_Port, STATUS_LED1_R_Pin, 1);
  HAL_GPIO_WritePin(STATUS_LED1_G_GPIO_Port, STATUS_LED1_G_Pin, 1);
  HAL_GPIO_WritePin(STATUS_LED1_B_GPIO_Port, STATUS_LED1_B_Pin, 1);
  HAL_GPIO_WritePin(STATUS_LED2_R_GPIO_Port, STATUS_LED2_R_Pin, 1);
  HAL_GPIO_WritePin(STATUS_LED2_G_GPIO_Port, STATUS_LED2_G_Pin, 1);
  HAL_GPIO_WritePin(STATUS_LED2_B_GPIO_Port, STATUS_LED2_B_Pin, 1);

  // Infinite loop
  for(;;)
  {
	// Blue
	HAL_GPIO_TogglePin(STATUS_LED1_B_GPIO_Port, STATUS_LED1_B_Pin);
	osDelay(500);
	HAL_GPIO_TogglePin(STATUS_LED1_B_GPIO_Port, STATUS_LED1_B_Pin);
	// Red
	HAL_GPIO_TogglePin(STATUS_LED1_R_GPIO_Port, STATUS_LED1_R_Pin);
	osDelay(500);
	HAL_GPIO_TogglePin(STATUS_LED1_R_GPIO_Port, STATUS_LED1_R_Pin);
	// Green
	HAL_GPIO_TogglePin(STATUS_LED1_G_GPIO_Port, STATUS_LED1_G_Pin);
	osDelay(500);
	HAL_GPIO_TogglePin(STATUS_LED1_G_GPIO_Port, STATUS_LED1_G_Pin);
  }

  osThreadTerminate(NULL); // Good practice to add for if you somehow exit the loop

  /* USER CODE END 5 */
}

void HAL_TIM_PeriodElapsedCallback(TIM_HandleTypeDef *htim)
{
  if (htim->Instance == TIM7) {
    HAL_IncTick();
  }
}

void Error_Handler(void)
{
  /* USER CODE BEGIN Error_Handler_Debug */
  /* User can add his own implementation to report the HAL error return state */
  __disable_irq();

  HAL_GPIO_WritePin(STATUS_LED1_R_GPIO_Port, STATUS_LED1_R_Pin, 1);
  HAL_GPIO_WritePin(STATUS_LED1_G_GPIO_Port, STATUS_LED1_G_Pin, 1);
  HAL_GPIO_WritePin(STATUS_LED1_B_GPIO_Port, STATUS_LED1_B_Pin, 1);
  HAL_GPIO_WritePin(STATUS_LED2_R_GPIO_Port, STATUS_LED2_R_Pin, 1);
  HAL_GPIO_WritePin(STATUS_LED2_G_GPIO_Port, STATUS_LED2_G_Pin, 1);
  HAL_GPIO_WritePin(STATUS_LED2_B_GPIO_Port, STATUS_LED2_B_Pin, 1);

  while (1)
  {
	  HAL_GPIO_TogglePin(STATUS_LED1_R_GPIO_Port, STATUS_LED1_R_Pin);
	  HAL_Delay(100);
	  /*Test*/
	  HAL_GPIO_TogglePin(STATUS_LED2_R_GPIO_Port, STATUS_LED2_R_Pin);
  }
  /* USER CODE END Error_Handler_Debug */
}
